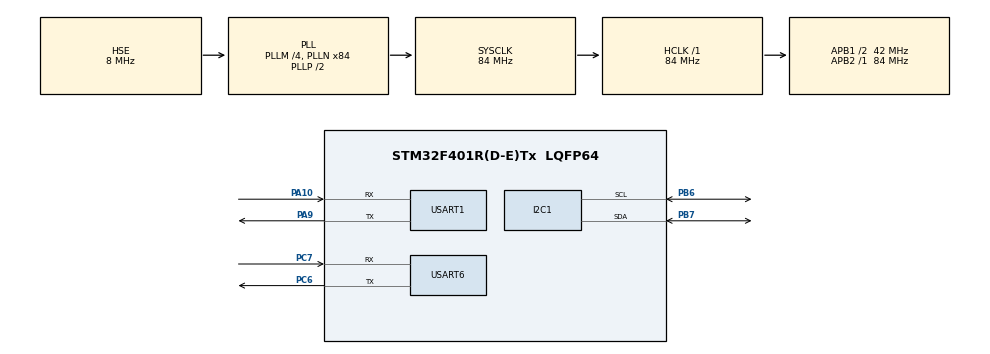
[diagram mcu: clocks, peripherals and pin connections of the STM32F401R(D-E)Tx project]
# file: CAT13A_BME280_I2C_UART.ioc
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Mcu.Family=STM32F4
Mcu.Name=STM32F401R(D-E)Tx
Mcu.Package=LQFP64
NVIC.PriorityGroup=NVIC_PRIORITYGROUP_4
NVIC.USART1_IRQn=true\:0\:0\:false\:false\:true\:true\:true\:true
PA10.Mode=Asynchronous
PA10.Signal=USART1_RX
PA13.Mode=Serial_Wire
PA13.Signal=SYS_JTMS-SWDIO
PA14.Mode=Serial_Wire
PA14.Signal=SYS_JTCK-SWCLK
PA9.Mode=Asynchronous
PA9.Signal=USART1_TX
PB6.Mode=I2C
PB6.Signal=I2C1_SCL
PB7.Mode=I2C
PB7.Signal=I2C1_SDA
PC6.Mode=Asynchronous
PC6.Signal=USART6_TX
PC7.Mode=Asynchronous
PC7.Signal=USART6_RX
PH0\ -\ OSC_IN.Mode=HSE-External-Clock-Source
PH0\ -\ OSC_IN.Signal=RCC_OSC_IN
PH1\ -\ OSC_OUT.Mode=HSE-External-Clock-Source
PH1\ -\ OSC_OUT.Signal=RCC_OSC_OUT
ProjectManager.HeapSize=0x200
ProjectManager.StackSize=0x400
ProjectManager.TargetToolchain=STM32CubeIDE
RCC.48MHZClocksFreq_Value=42000000
RCC.AHBFreq_Value=84000000
RCC.APB1CLKDivider=RCC_HCLK_DIV2
RCC.APB1Freq_Value=42000000
RCC.APB1TimFreq_Value=84000000
RCC.APB2Freq_Value=84000000
RCC.APB2TimFreq_Value=84000000
RCC.CortexFreq_Value=84000000
RCC.HCLKFreq_Value=84000000
RCC.HSE_VALUE=8000000
RCC.HSI_VALUE=16000000
RCC.LSE_VALUE=32768
RCC.PLLM=4
RCC.PLLN=84
RCC.PLLSourceVirtual=RCC_PLLSOURCE_HSE
RCC.SYSCLKFreq_VALUE=84000000
RCC.SYSCLKSource=RCC_SYSCLKSOURCE_PLLCLK
RCC.VCOOutputFreq_Value=168000000
USART1.VirtualMode=VM_ASYNC
USART6.VirtualMode=VM_ASYNC
board=custom

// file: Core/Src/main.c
/* USER CODE BEGIN Header */
/**
  ******************************************************************************
  * @file           : main.c
  * @brief          : CAT 13 - Steps 1-3 : BME280 over I2C with the Bosch Sensor API, output on UART
  *                    Chip ID -> raw registers -> compensated T/P/H -> compare two oversampling profiles.
  ******************************************************************************
  * @attention
  *
  * Copyright (c) 2026 STMicroelectronics.
  * All rights reserved.
  *
  * This software is licensed under terms that can be found in the LICENSE file
  * in the root directory of this software component.
  * If no LICENSE file comes with this software, it is provided AS-IS.
  *
  ******************************************************************************
  */
/* USER CODE END Header */
#include "main.h"

/* USER CODE BEGIN Includes */
#include "bme280.h"
#include "fmt_fixed.h"
#include <stdio.h>
#include <string.h>
/* USER CODE END Includes */

/* USER CODE BEGIN PD */
#define DBG_UART          (&huart6)   /* USART6: PC6 TX, PC7 RX -> USB-TTL -> PuTTY 115200 */
/* BME280 on I2C1: PB6 = SCL, PB7 = SDA, VCC = 3.3 V, SDO = GND -> address 0x76 */

#define READ_PERIOD_MS     2000U
#define READINGS_PER_PROFILE 10U    /* switch oversampling/filter profile every 10 readings */
/* USER CODE END PD */

I2C_HandleTypeDef hi2c1;
UART_HandleTypeDef huart1;
UART_HandleTypeDef huart6;

/* USER CODE BEGIN PV */
static struct bme280_dev      bme;
static struct bme280_settings bme_cfg;
static struct bme280_data     bme_data;
static uint8_t                bme_addr = BME280_I2C_ADDR_PRIM;   /* 0x76 */

/* compensated results - add these to Live Expressions while debugging */
float temperature = 0.0f;    /* deg C */
float pressure    = 0.0f;    /* hPa   */
float humidity    = 0.0f;    /* %RH   */
int8_t bme_status = BME280_OK;
static uint32_t reading_no = 0;
static uint8_t  profile    = 0;     /* 0 = A (2x, no filter), 1 = B (16x, filter 16) */
/* USER CODE END PV */

void SystemClock_Config(void);
static void MX_GPIO_Init(void);
static void MX_I2C1_Init(void);
static void MX_USART1_UART_Init(void);
static void MX_USART6_UART_Init(void);
/* USER CODE BEGIN PFP */
int8_t user_i2c_read(uint8_t reg_addr, uint8_t *reg_data, uint32_t len, void *intf_ptr);
int8_t user_i2c_write(uint8_t reg_addr, const uint8_t *reg_data, uint32_t len, void *intf_ptr);
void   user_delay_us(uint32_t period, void *intf_ptr);
/* USER CODE END PFP */

/* USER CODE BEGIN 0 */
static void dbg(const char *s)
{
  HAL_UART_Transmit(DBG_UART, (uint8_t *)s, (uint16_t)strlen(s), 200);
}

/* Connect the Bosch API to our I2C functions, check the chip and configure it */
static int8_t bme_setup(uint8_t osr, uint8_t filter, uint8_t standby)
{
  int8_t r;

  bme.intf_ptr = &bme_addr;
  bme.intf     = BME280_I2C_INTF;
  bme.read     = user_i2c_read;
  bme.write    = user_i2c_write;
  bme.delay_us = user_delay_us;

  r = bme280_init(&bme);                 /* reads chip ID 0x60, soft reset, trim data */
  if (r != BME280_OK)
    return r;

  r = bme280_get_sensor_settings(&bme_cfg, &bme);   /* start from the current settings */
  if (r != BME280_OK)
    return r;
  bme_cfg.osr_t        = osr;            /* temperature oversampling */
  bme_cfg.osr_p        = osr;            /* pressure oversampling    */
  bme_cfg.osr_h        = osr;            /* humidity oversampling    */
  bme_cfg.filter       = filter;         /* IIR filter coefficient   */
  bme_cfg.standby_time = standby;        /* time between conversions in normal mode */
  r = bme280_set_sensor_settings(BME280_SEL_ALL_SETTINGS, &bme_cfg, &bme);
  if (r != BME280_OK)
    return r;

  return bme280_set_sensor_mode(BME280_POWERMODE_NORMAL, &bme);   /* continuous */
}

/* Read compensated values; returns 1 on success */
static int bme_read(void)
{
  bme_status = bme280_get_sensor_data(BME280_ALL, &bme_data, &bme);
  if (bme_status != BME280_OK)
    return 0;
  temperature = (float)bme_data.temperature;
  pressure    = (float)(bme_data.pressure / 100.0);   /* Pa -> hPa */
  humidity    = (float)bme_data.humidity;
  return 1;
}

static void print_readings(void)
{
  char t[12], p[12], h[12], line[48];
  fmt_2dp(t, sizeof(t), temperature);
  fmt_2dp(p, sizeof(p), pressure);
  fmt_2dp(h, sizeof(h), humidity);
  snprintf(line, sizeof(line), "Temperature : %s \xC2\xB0" "C\r\n", t);  dbg(line);
  snprintf(line, sizeof(line), "Pressure    : %s hPa\r\n", p);           dbg(line);
  snprintf(line, sizeof(line), "Humidity    : %s %%RH\r\n", h);          dbg(line);
}

/* Step 1: read the chip ID register (0xD0) directly - should be 0x60 */
static uint8_t read_chip_id(void)
{
  uint8_t id = 0;
  if (user_i2c_read(BME280_REG_CHIP_ID, &id, 1, &bme_addr) != BME280_OK)
    return 0;
  return id;
}

/* Step 2: read the 8 raw measurement registers 0xF7..0xFE and unpack the ADC values */
static void print_raw(void)
{
  uint8_t r[BME280_LEN_P_T_H_DATA];
  char    line[64];
  if (bme280_get_regs(BME280_REG_DATA, r, sizeof(r), &bme) != BME280_OK)
    return;
  uint32_t adc_p = ((uint32_t)r[0] << 12) | ((uint32_t)r[1] << 4) | (r[2] >> 4);
  uint32_t adc_t = ((uint32_t)r[3] << 12) | ((uint32_t)r[4] << 4) | (r[5] >> 4);
  uint32_t adc_h = ((uint32_t)r[6] << 8)  |  r[7];
  snprintf(line, sizeof(line), "Raw ADC     : T=%lu P=%lu H=%lu\r\n",
           (unsigned long)adc_t, (unsigned long)adc_p, (unsigned long)adc_h);
  dbg(line);
}

/* Step 5: two settings profiles to compare the noise of the readings */
static void apply_profile(uint8_t which)
{
  if (which == 0)
  {
    bme_setup(BME280_OVERSAMPLING_2X, BME280_FILTER_COEFF_OFF, BME280_STANDBY_TIME_62_5_MS);
    dbg("\r\n>>> Profile A: oversampling 2x, IIR filter OFF\r\n");
  }
  else
  {
    bme_setup(BME280_OVERSAMPLING_16X, BME280_FILTER_COEFF_16, BME280_STANDBY_TIME_125_MS);
    dbg("\r\n>>> Profile B: oversampling 16x, IIR filter 16 (smoother, slower)\r\n");
  }
  HAL_Delay(200);                    /* let the first conversion finish */
}
/* USER CODE END 0 */

int main(void)
{

  /* MCU Configuration--------------------------------------------------------*/

  /* Reset of all peripherals, Initializes the Flash interface and the Systick. */
  HAL_Init();

  /* Configure the system clock */
  SystemClock_Config();

  /* Initialize all configured peripherals */
  MX_GPIO_Init();
  MX_I2C1_Init();
  MX_USART1_UART_Init();
  MX_USART6_UART_Init();
  /* USER CODE BEGIN 2 */
  char msg[48];
  uint8_t id;

  dbg("\r\nCAT13A - BME280 over I2C with the Bosch Sensor API\r\n");

  id = read_chip_id();
  snprintf(msg, sizeof(msg), "Chip ID     : 0x%02X %s\r\n", id, (id == BME280_CHIP_ID) ? "(BME280 OK)" : "(WRONG / no sensor)");
  dbg(msg);
  if (id != BME280_CHIP_ID)
  {
    dbg("Check wiring: SCL=PB6, SDA=PB7, 3.3V, GND, address 0x76\r\n");
    Error_Handler();
  }

  apply_profile(profile);
  /* USER CODE END 2 */

  /* Infinite loop */
  while (1)
  {

    /* USER CODE BEGIN 3 */
    char hdr[48];

    reading_no++;
    snprintf(hdr, sizeof(hdr), "\r\n--- Reading %lu (profile %c) ---\r\n", (unsigned long)reading_no, profile ? 'B' : 'A');
    dbg(hdr);
    print_raw();
    if (bme_read())
      print_readings();
    else
      dbg("bme280_get_sensor_data() failed\r\n");

    if ((reading_no % READINGS_PER_PROFILE) == 0)
    {
      profile = !profile;
      apply_profile(profile);
    }
    HAL_Delay(READ_PERIOD_MS);
  }
  /* USER CODE END 3 */
}

void SystemClock_Config(void)
{
  RCC_OscInitTypeDef RCC_OscInitStruct = {0};
  RCC_ClkInitTypeDef RCC_ClkInitStruct = {0};

  /** Configure the main internal regulator output voltage
  */
  __HAL_RCC_PWR_CLK_ENABLE();
  __HAL_PWR_VOLTAGESCALING_CONFIG(PWR_REGULATOR_VOLTAGE_SCALE2);

  /** Initializes the RCC Oscillators according to the specified parameters
  * in the RCC_OscInitTypeDef structure.
  */
  RCC_OscInitStruct.OscillatorType = RCC_OSCILLATORTYPE_HSE;
  RCC_OscInitStruct.HSEState = RCC_HSE_BYPASS;
  RCC_OscInitStruct.PLL.PLLState = RCC_PLL_ON;
  RCC_OscInitStruct.PLL.PLLSource = RCC_PLLSOURCE_HSE;
  RCC_OscInitStruct.PLL.PLLM = 4;
  RCC_OscInitStruct.PLL.PLLN = 84;
  RCC_OscInitStruct.PLL.PLLP = RCC_PLLP_DIV2;
  RCC_OscInitStruct.PLL.PLLQ = 4;
  if (HAL_RCC_OscConfig(&RCC_OscInitStruct) != HAL_OK)
  {
    Error_Handler();
  }

  /** Initializes the CPU, AHB and APB buses clocks
  */
  RCC_ClkInitStruct.ClockType = RCC_CLOCKTYPE_HCLK|RCC_CLOCKTYPE_SYSCLK
                              |RCC_CLOCKTYPE_PCLK1|RCC_CLOCKTYPE_PCLK2;
  RCC_ClkInitStruct.SYSCLKSource = RCC_SYSCLKSOURCE_PLLCLK;
  RCC_ClkInitStruct.AHBCLKDivider = RCC_SYSCLK_DIV1;
  RCC_ClkInitStruct.APB1CLKDivider = RCC_HCLK_DIV2;
  RCC_ClkInitStruct.APB2CLKDivider = RCC_HCLK_DIV1;

  if (HAL_RCC_ClockConfig(&RCC_ClkInitStruct, FLASH_LATENCY_2) != HAL_OK)
  {
    Error_Handler();
  }
}

static void MX_I2C1_Init(void)
{

  hi2c1.Instance = I2C1;
  hi2c1.Init.ClockSpeed = 100000;
  hi2c1.Init.DutyCycle = I2C_DUTYCYCLE_2;
  hi2c1.Init.OwnAddress1 = 0;
  hi2c1.Init.AddressingMode = I2C_ADDRESSINGMODE_7BIT;
  hi2c1.Init.DualAddressMode = I2C_DUALADDRESS_DISABLE;
  hi2c1.Init.OwnAddress2 = 0;
  hi2c1.Init.GeneralCallMode = I2C_GENERALCALL_DISABLE;
  hi2c1.Init.NoStretchMode = I2C_NOSTRETCH_DISABLE;
  if (HAL_I2C_Init(&hi2c1) != HAL_OK)
  {
    Error_Handler();
  }

}

static void MX_USART1_UART_Init(void)
{

  huart1.Instance = USART1;
  huart1.Init.BaudRate = 115200;
  huart1.Init.WordLength = UART_WORDLENGTH_8B;
  huart1.Init.StopBits = UART_STOPBITS_1;
  huart1.Init.Parity = UART_PARITY_NONE;
  huart1.Init.Mode = UART_MODE_TX_RX;
  huart1.Init.HwFlowCtl = UART_HWCONTROL_NONE;
  huart1.Init.OverSampling = UART_OVERSAMPLING_16;
  if (HAL_UART_Init(&huart1) != HAL_OK)
  {
    Error_Handler();
  }

}

static void MX_USART6_UART_Init(void)
{

  huart6.Instance = USART6;
  huart6.Init.BaudRate = 115200;
  huart6.Init.WordLength = UART_WORDLENGTH_8B;
  huart6.Init.StopBits = UART_STOPBITS_1;
  huart6.Init.Parity = UART_PARITY_NONE;
  huart6.Init.Mode = UART_MODE_TX_RX;
  huart6.Init.HwFlowCtl = UART_HWCONTROL_NONE;
  huart6.Init.OverSampling = UART_OVERSAMPLING_16;
  if (HAL_UART_Init(&huart6) != HAL_OK)
  {
    Error_Handler();
  }

}

static void MX_GPIO_Init(void)
{

  /* GPIO Ports Clock Enable */
  __HAL_RCC_GPIOH_CLK_ENABLE();
  __HAL_RCC_GPIOC_CLK_ENABLE();
  __HAL_RCC_GPIOA_CLK_ENABLE();
  __HAL_RCC_GPIOB_CLK_ENABLE();

}

/* USER CODE BEGIN 4 */
/* ---------------------------------------------------------------------------
 * Hardware abstraction for the Bosch BME280 Sensor API.
 * The Bosch driver never touches the hardware itself: it calls these three
 * functions through the bme280_dev structure.
 * ------------------------------------------------------------------------- */

/* read_register(): burst-read 'len' bytes starting at 'reg_addr' */
int8_t user_i2c_read(uint8_t reg_addr, uint8_t *reg_data, uint32_t len, void *intf_ptr)
{
  uint8_t addr7 = *(uint8_t *)intf_ptr;
  /* HAL wants the 8-bit (shifted) address */
  if (HAL_I2C_Mem_Read(&hi2c1, (uint16_t)(addr7 << 1), reg_addr, I2C_MEMADD_SIZE_8BIT,
                       reg_data, (uint16_t)len, 100) != HAL_OK)
    return BME280_E_COMM_FAIL;
  return BME280_OK;
}

/* write_register(): write 'len' bytes starting at 'reg_addr' */
int8_t user_i2c_write(uint8_t reg_addr, const uint8_t *reg_data, uint32_t len, void *intf_ptr)
{
  uint8_t addr7 = *(uint8_t *)intf_ptr;
  if (HAL_I2C_Mem_Write(&hi2c1, (uint16_t)(addr7 << 1), reg_addr, I2C_MEMADD_SIZE_8BIT,
                        (uint8_t *)reg_data, (uint16_t)len, 100) != HAL_OK)
    return BME280_E_COMM_FAIL;
  return BME280_OK;
}

/* delay_function(): the API asks for microseconds.
 * >= 1 ms : HAL_Delay (SysTick, waits at least the requested time)
 *  < 1 ms : busy-wait on the Cortex-M4 DWT cycle counter. Cycles per us are
 *           taken from SystemCoreClock (84 at the 84 MHz used here). */
void user_delay_us(uint32_t period, void *intf_ptr)
{
  (void)intf_ptr;
  if (period >= 1000U)
  {
    HAL_Delay((period + 999U) / 1000U);
    return;
  }
  if ((DWT->CTRL & DWT_CTRL_CYCCNTENA_Msk) == 0U)        /* enable the cycle counter once */
  {
    CoreDebug->DEMCR |= CoreDebug_DEMCR_TRCENA_Msk;
    DWT->CYCCNT = 0;
    DWT->CTRL |= DWT_CTRL_CYCCNTENA_Msk;
  }
  uint32_t start = DWT->CYCCNT;
  uint32_t ticks = period * (SystemCoreClock / 1000000U);
  while ((DWT->CYCCNT - start) < ticks)                  /* unsigned maths: wrap-safe */
  {
  }
}
/* USER CODE END 4 */

void Error_Handler(void)
{
  __disable_irq();
  while (1)
  {
  }
}
